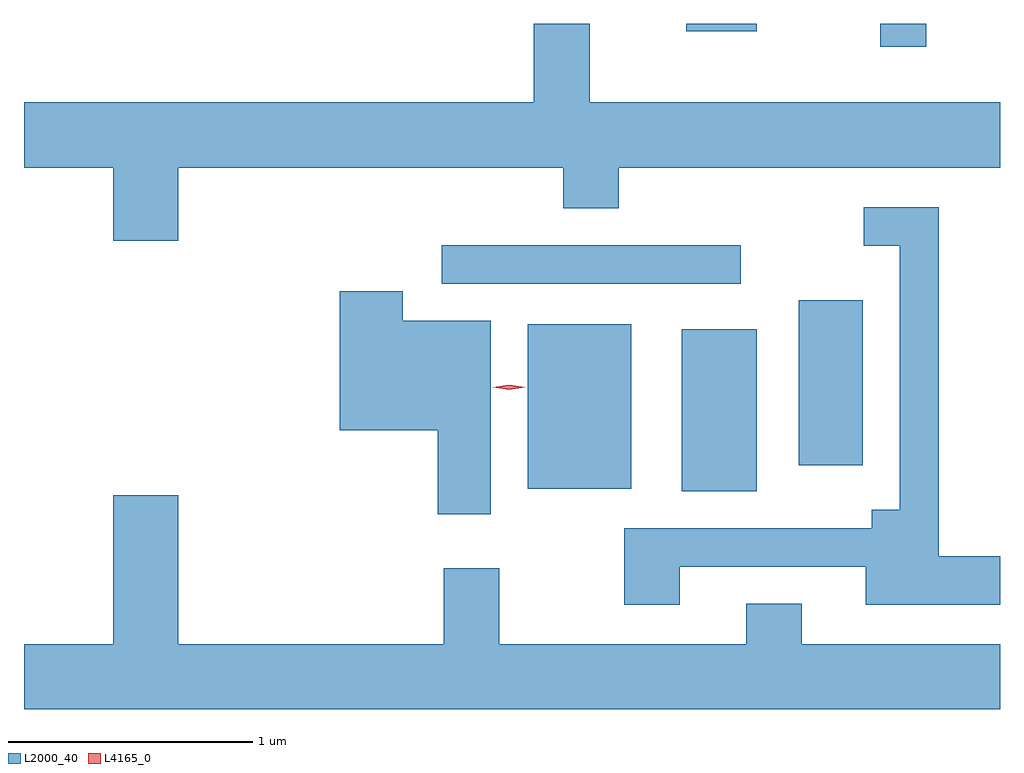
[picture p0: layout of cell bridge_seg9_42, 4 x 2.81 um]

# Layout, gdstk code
import gdstk
lib = gdstk.Library(unit=1e-6, precision=1e-09)
def R(c, l, rs):  # rectangles x0, y0, x1, y1
    for r in rs: c.add(gdstk.rectangle(r[:2], r[2:], *l))
def P(c, l, *ps):  # polygons
    for p in ps: c.add(gdstk.Polygon(p, *l))
L2000_40 = (2000, 40)
L4165_0 = (4165, 0)

bridge_seg9_42 = lib.new_cell('bridge_seg9_42')
R(bridge_seg9_42, L2000_40, [(1516.106,1999.371,1516.414,2000.034), (1515.476,1999.381,1515.899,2000.054), (1516.586,1999.476,1516.849,2000.154), (1515.123,2000.221,1516.348,2000.379), (1516.921,2001.191,1517.109,2001.287), (1516.126,2001.256,1516.414,2001.287)])
P(bridge_seg9_42, L2000_40, [(1514.044,2000.696),(1515.621,2000.696),(1515.621,2000.531),(1515.849,2000.531),(1515.849,2000.696),(1517.411,2000.696),(1517.411,2000.964),(1515.729,2000.964),(1515.729,2001.287),(1515.501,2001.287),(1515.501,2000.964),(1513.411,2000.964),(1513.411,2000.696),(1513.776,2000.696),(1513.776,2000.396),(1514.044,2000.396)],
  [(1516.099,1999.061),(1516.861,1999.061),(1516.861,1998.906),(1517.411,1998.906),(1517.411,1999.104),(1517.159,1999.104),(1517.159,2000.534),(1516.853,2000.534),(1516.853,2000.376),(1517.001,2000.376),(1517.001,1999.294),(1516.886,1999.294),(1516.886,1999.219),(1515.871,1999.219),(1515.871,1998.906),(1516.099,1998.906)],
  [(1515.324,2000.069),(1514.964,2000.069),(1514.964,2000.189),(1514.706,2000.189),(1514.706,1999.621),(1515.106,1999.621),(1515.106,1999.276),(1515.324,1999.276)],
  [(1517.411,1998.744),(1516.599,1998.744),(1516.599,1998.909),(1516.371,1998.909),(1516.371,1998.744),(1515.359,1998.744),(1515.359,1999.054),(1515.131,1999.054),(1515.131,1998.744),(1514.044,1998.744),(1514.044,1999.354),(1513.776,1999.354),(1513.776,1998.744),(1513.411,1998.744),(1513.411,1998.476),(1517.411,1998.476)])
P(bridge_seg9_42, L4165_0, [(1515.4,1999.786),(1515.333,1999.796),(1515.333,1999.796),(1515.333,1999.797),(1515.4,1999.806),(1515.466,1999.797),(1515.466,1999.796),(1515.466,1999.796)])

lib.write_gds('bridge_seg9_42.gds')
